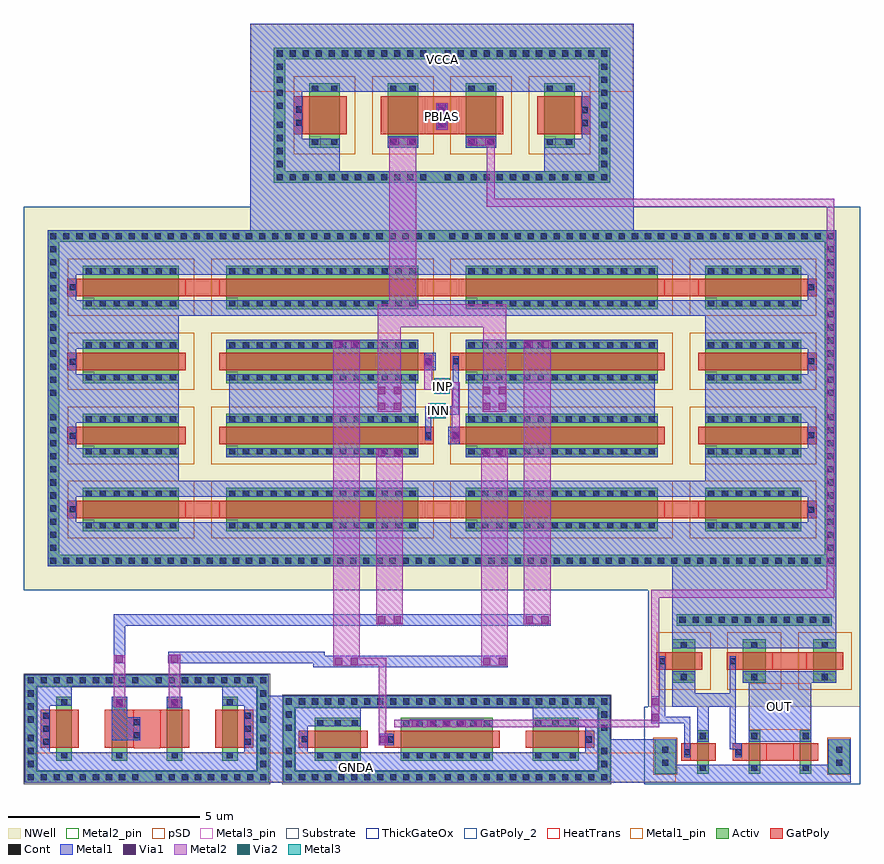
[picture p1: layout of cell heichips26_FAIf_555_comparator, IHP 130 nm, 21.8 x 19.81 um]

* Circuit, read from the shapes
.subckt heichips26_FAIf_555_comparator GNDA INN INP OUT PBIAS VCCA
XM1 GNDA GNDA GNDA GNDA sg13_hv_nmos w=0.4u l=1u m=2
XM2 n1 n1 GNDA GNDA sg13_hv_nmos w=0.4u l=1u
XM3 n2 n1 GNDA GNDA sg13_hv_nmos w=0.4u l=1u
XM4 GNDA GNDA GNDA GNDA sg13_hv_nmos w=1.2u l=0.45u m=2
XM5 n3 n2 GNDA GNDA sg13_hv_nmos w=2.4u l=0.45u
XM6 n4 n3 GNDA GNDA sg13_hv_nmos w=0.3u l=0.45u
XM7 OUT n4 GNDA GNDA sg13_hv_nmos w=0.3u l=0.45u m=2
XM8 VCCA VCCA VCCA VCCA sg13_hv_pmos w=2.5u l=0.45u m=8
XM9 VCCA VCCA VCCA VCCA sg13_hv_pmos w=5u l=0.45u m=4
XM10 n5 INN n1 VCCA sg13_hv_pmos w=5u l=0.45u m=2
XM11 n2 INP n5 VCCA sg13_hv_pmos w=5u l=0.45u m=2
XM12 VCCA VCCA VCCA VCCA sg13_hv_pmos w=0.8u l=1u m=2
XM13 VCCA PBIAS n5 VCCA sg13_hv_pmos w=0.8u l=1u
XM14 VCCA PBIAS n3 VCCA sg13_hv_pmos w=0.8u l=1u
XM15 VCCA n3 n4 VCCA sg13_hv_pmos w=0.6u l=0.45u
XM16 VCCA n4 OUT VCCA sg13_hv_pmos w=0.6u l=0.45u m=2
.ends

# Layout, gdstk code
from math import pi, radians
import gdstk
lib = gdstk.Library(unit=1e-6, precision=1e-09)
def R(c, l, rs):  # rectangles x0, y0, x1, y1
    for r in rs: c.add(gdstk.rectangle(r[:2], r[2:], *l))
def A(c, l, x, y, w, h, nx, ny, dx, dy):  # array of equal rectangles
    R(c, l, [(x+i*dx, y+j*dy, x+i*dx+w, y+j*dy+h) for i in range(nx) for j in range(ny)])
def P(c, l, *ps):  # polygons
    for p in ps: c.add(gdstk.Polygon(p, *l))
Activ = (1, 0)
GatPoly = (5, 0)
GatPoly_2 = (5, 2)
Cont = (6, 0)
Metal1 = (8, 0)
Metal1_pin = (8, 2)
Metal2 = (10, 0)
Metal2_pin = (10, 2)
pSD = (14, 0)
Via1 = (19, 0)
Via2 = (29, 0)
Metal3 = (30, 0)
Metal3_pin = (30, 2)
NWell = (31, 0)
Substrate = (40, 0)
ThickGateOx = (44, 0)
HeatTrans = (51, 0)

heichips26_faif_comp_via = lib.new_cell('heichips26_FAIf_comp_via_stack_11')
R(heichips26_faif_comp_via, Metal2, [(-0.145,-0.1,0.145,0.1)])
R(heichips26_faif_comp_via, Via2, [(-0.095,-0.095,0.095,0.095)])
R(heichips26_faif_comp_via, Metal3, [(-0.145,-0.1,0.145,0.1)])

c_heichips26_faif_comp_via = lib.new_cell('heichips26_FAIf_comp_via_stack_10')
R(c_heichips26_faif_comp_via, Metal1, [(-0.145,-0.105,0.145,0.105)])
R(c_heichips26_faif_comp_via, Metal2, [(-0.145,-0.1,0.145,0.1)])
R(c_heichips26_faif_comp_via, Via1, [(-0.095,-0.095,0.095,0.095)])
R(c_heichips26_faif_comp_via, Via2, [(-0.095,-0.095,0.095,0.095)])
R(c_heichips26_faif_comp_via, Metal3, [(-0.145,-0.1,0.145,0.1)])

c_heichips26_faif_comp_via_ = lib.new_cell('heichips26_FAIf_comp_via_stack_9')
R(c_heichips26_faif_comp_via_, GatPoly, [(-0.15,-0.15,0.15,0.15)])
R(c_heichips26_faif_comp_via_, Cont, [(-0.08,-0.08,0.08,0.08)])
R(c_heichips26_faif_comp_via_, Metal1, [(-0.145,-0.105,0.145,0.105)])
R(c_heichips26_faif_comp_via_, Metal2, [(-0.145,-0.1,0.145,0.1)])
R(c_heichips26_faif_comp_via_, Via1, [(-0.095,-0.095,0.095,0.095)])

c_heichips26_faif_comp_via__ = lib.new_cell('heichips26_FAIf_comp_via_stack_8')
R(c_heichips26_faif_comp_via__, GatPoly, [(-0.32,-0.15,0.32,0.15)])
R(c_heichips26_faif_comp_via__, Cont, [(-0.25,-0.08,-0.09,0.08), (0.09,-0.08,0.25,0.08)])
R(c_heichips26_faif_comp_via__, Metal1, [(-0.3,-0.08,0.3,0.08)])

c_heichips26_faif_comp_via___ = lib.new_cell('heichips26_FAIf_comp_via_stack_6')
R(c_heichips26_faif_comp_via___, Activ, [(-0.32,-0.15,0.32,0.15)])
R(c_heichips26_faif_comp_via___, Cont, [(-0.25,-0.08,-0.09,0.08), (0.09,-0.08,0.25,0.08)])
R(c_heichips26_faif_comp_via___, Metal1, [(-0.3,-0.08,0.3,0.08)])

c_heichips26_faif_comp_via____ = lib.new_cell('heichips26_FAIf_comp_via_stack_4')
R(c_heichips26_faif_comp_via____, Activ, [(-0.15,-2.02,0.15,2.02)])
A(c_heichips26_faif_comp_via____, Cont, -0.08, -1.95, 0.16, 0.16, 1, 12, 0, 0.34)
R(c_heichips26_faif_comp_via____, Metal1, [(-0.08,-2,0.08,2)])

heichips26_faif_comp_pmo = lib.new_cell('heichips26_FAIf_comp_pmosHV_3')
R(heichips26_faif_comp_pmo, Activ, [(0,0,0.3,0.3), (0,0,1.13,0.6), (0.83,0,1.13,0.3)])
R(heichips26_faif_comp_pmo, GatPoly, [(0.34,-0.18,0.79,0.78)])
R(heichips26_faif_comp_pmo, GatPoly_2, [(0.34,-0.18,0.79,0.78)])
R(heichips26_faif_comp_pmo, Cont, [(0.07,0.22,0.23,0.38), (0.9,0.22,1.06,0.38)])
R(heichips26_faif_comp_pmo, Metal1, [(0.07,0,0.23,0.6), (0.9,0,1.06,0.6)])
R(heichips26_faif_comp_pmo, Metal1_pin, [(0.07,0,0.23,0.6), (0.9,0,1.06,0.6)])
R(heichips26_faif_comp_pmo, pSD, [(-0.18,-0.4,1.31,1)])
R(heichips26_faif_comp_pmo, NWell, [(-0.62,-0.62,1.75,1.22)])
R(heichips26_faif_comp_pmo, Substrate, [(0.83,0,1.13,0.3)])
R(heichips26_faif_comp_pmo, ThickGateOx, [(-0.62,-0.62,1.75,1.22)])
R(heichips26_faif_comp_pmo, HeatTrans, [(0.34,-0.18,0.79,0.78)])
heichips26_faif_comp_pmo.add(gdstk.Label('pmosHV', (0.565,0.3), layer=63, texttype=0))
heichips26_faif_comp_pmo.add(gdstk.Label('pmos', (0.565,0.3), layer=51, texttype=0))

heichips26_faif_comp_nmo = lib.new_cell('heichips26_FAIf_comp_nmosHV_4')
R(heichips26_faif_comp_nmo, Activ, [(0,0,0.3,0.3), (0,0,1.13,0.3), (0.83,0,1.13,0.3)])
R(heichips26_faif_comp_nmo, GatPoly, [(0.34,-0.18,0.79,0.48)])
R(heichips26_faif_comp_nmo, GatPoly_2, [(0.34,-0.18,0.79,0.48)])
R(heichips26_faif_comp_nmo, Cont, [(0.07,0.07,0.23,0.23), (0.9,0.07,1.06,0.23)])
R(heichips26_faif_comp_nmo, Metal1, [(0.07,0,0.23,0.3), (0.9,0,1.06,0.3)])
R(heichips26_faif_comp_nmo, Metal1_pin, [(0.07,0,0.23,0.3), (0.9,0,1.06,0.3)])
R(heichips26_faif_comp_nmo, ThickGateOx, [(-0.27,-0.52,1.4,0.82)])
R(heichips26_faif_comp_nmo, HeatTrans, [(0.34,-0.18,0.79,0.48)])
heichips26_faif_comp_nmo.add(gdstk.Label('nmosHV', (0.565,0.15), layer=63, texttype=0))
heichips26_faif_comp_nmo.add(gdstk.Label('nmosHV', (0.565,0.15), layer=51, texttype=0))

c_heichips26_faif_comp_nmo = lib.new_cell('heichips26_FAIf_comp_nmosHV_3')
R(c_heichips26_faif_comp_nmo, Activ, [(0,0,0.3,0.3), (0,0,1.13,1.2), (0.83,0,1.13,0.3)])
R(c_heichips26_faif_comp_nmo, GatPoly, [(0.34,-0.18,0.79,1.38)])
R(c_heichips26_faif_comp_nmo, GatPoly_2, [(0.34,-0.18,0.79,1.38)])
A(c_heichips26_faif_comp_nmo, Cont, 0.07, 0.07, 0.16, 0.16, 1, 3, 0, 0.45)
A(c_heichips26_faif_comp_nmo, Cont, 0.9, 0.07, 0.16, 0.16, 1, 3, 0, 0.45)
R(c_heichips26_faif_comp_nmo, Metal1, [(0.07,0,0.23,1.2), (0.9,0,1.06,1.2)])
R(c_heichips26_faif_comp_nmo, Metal1_pin, [(0.07,0,0.23,1.2), (0.9,0,1.06,1.2)])
R(c_heichips26_faif_comp_nmo, ThickGateOx, [(-0.27,-0.52,1.4,1.72)])
R(c_heichips26_faif_comp_nmo, HeatTrans, [(0.34,-0.18,0.79,1.38)])
c_heichips26_faif_comp_nmo.add(gdstk.Label('nmosHV', (0.565,0.6), layer=63, texttype=0))
c_heichips26_faif_comp_nmo.add(gdstk.Label('nmosHV', (0.565,0.6), layer=51, texttype=0))

c_heichips26_faif_comp_nmo_ = lib.new_cell('heichips26_FAIf_comp_nmosHV_2')
R(c_heichips26_faif_comp_nmo_, Activ, [(0,0,0.3,0.3), (0,0,1.13,2.4), (0.83,0,1.13,0.3)])
R(c_heichips26_faif_comp_nmo_, GatPoly, [(0.34,-0.18,0.79,2.58)])
R(c_heichips26_faif_comp_nmo_, GatPoly_2, [(0.34,-0.18,0.79,2.58)])
A(c_heichips26_faif_comp_nmo_, Cont, 0.07, 0.07, 0.16, 0.16, 1, 7, 0, 0.35)
A(c_heichips26_faif_comp_nmo_, Cont, 0.9, 0.07, 0.16, 0.16, 1, 7, 0, 0.35)
R(c_heichips26_faif_comp_nmo_, Metal1, [(0.07,0,0.23,2.4), (0.9,0,1.06,2.4)])
R(c_heichips26_faif_comp_nmo_, Metal1_pin, [(0.07,0,0.23,2.4), (0.9,0,1.06,2.4)])
R(c_heichips26_faif_comp_nmo_, ThickGateOx, [(-0.27,-0.52,1.4,2.92)])
R(c_heichips26_faif_comp_nmo_, HeatTrans, [(0.34,-0.18,0.79,2.58)])
c_heichips26_faif_comp_nmo_.add(gdstk.Label('nmosHV', (0.565,1.2), layer=63, texttype=0))
c_heichips26_faif_comp_nmo_.add(gdstk.Label('nmosHV', (0.565,1.2), layer=51, texttype=0))

c_heichips26_faif_comp_via_____ = lib.new_cell('heichips26_FAIf_comp_via_stack_3')
R(c_heichips26_faif_comp_via_____, GatPoly, [(-0.15,-0.15,0.15,0.15)])
R(c_heichips26_faif_comp_via_____, Cont, [(-0.08,-0.08,0.08,0.08)])
R(c_heichips26_faif_comp_via_____, Metal1, [(-0.13,-0.08,0.13,0.08)])

c_heichips26_faif_comp_pmo = lib.new_cell('heichips26_FAIf_comp_pmosHV_2')
R(c_heichips26_faif_comp_pmo, Activ, [(0,0,0.3,0.3), (0,0,1.68,0.8), (1.38,0,1.68,0.3)])
R(c_heichips26_faif_comp_pmo, GatPoly, [(0.34,-0.18,1.34,0.98)])
R(c_heichips26_faif_comp_pmo, GatPoly_2, [(0.34,-0.18,1.34,0.98)])
R(c_heichips26_faif_comp_pmo, Cont, [(0.07,0.07,0.23,0.23), (1.45,0.07,1.61,0.23), (0.07,0.57,0.23,0.73), (1.45,0.57,1.61,0.73)])
R(c_heichips26_faif_comp_pmo, Metal1, [(0.07,0,0.23,0.8), (1.45,0,1.61,0.8)])
R(c_heichips26_faif_comp_pmo, Metal1_pin, [(0.07,0,0.23,0.8), (1.45,0,1.61,0.8)])
R(c_heichips26_faif_comp_pmo, pSD, [(-0.18,-0.4,1.86,1.2)])
R(c_heichips26_faif_comp_pmo, NWell, [(-0.62,-0.62,2.3,1.42)])
R(c_heichips26_faif_comp_pmo, Substrate, [(1.38,0,1.68,0.3)])
R(c_heichips26_faif_comp_pmo, ThickGateOx, [(-0.62,-0.62,2.3,1.42)])
R(c_heichips26_faif_comp_pmo, HeatTrans, [(0.34,-0.18,1.34,0.98)])
c_heichips26_faif_comp_pmo.add(gdstk.Label('pmosHV', (0.84,0.4), layer=63, texttype=0))
c_heichips26_faif_comp_pmo.add(gdstk.Label('pmos', (0.84,0.4), layer=51, texttype=0))

c_heichips26_faif_comp_via______ = lib.new_cell('heichips26_FAIf_comp_via_stack_1')
R(c_heichips26_faif_comp_via______, GatPoly, [(-0.15,-0.32,0.15,0.32)])
R(c_heichips26_faif_comp_via______, Cont, [(-0.08,-0.25,0.08,-0.09), (-0.08,0.09,0.08,0.25)])
R(c_heichips26_faif_comp_via______, Metal1, [(-0.08,-0.3,0.08,0.3)])

c_heichips26_faif_comp_pmo_ = lib.new_cell('heichips26_FAIf_comp_pmosHV_1')
R(c_heichips26_faif_comp_pmo_, Activ, [(0,0,0.3,0.3), (0,0,1.13,2.5), (0.83,0,1.13,0.3)])
R(c_heichips26_faif_comp_pmo_, GatPoly, [(0.34,-0.18,0.79,2.68)])
R(c_heichips26_faif_comp_pmo_, GatPoly_2, [(0.34,-0.18,0.79,2.68)])
A(c_heichips26_faif_comp_pmo_, Cont, 0.07, 0.07, 0.16, 0.16, 1, 3, 0, 0.365)
A(c_heichips26_faif_comp_pmo_, Cont, 0.9, 0.07, 0.16, 0.16, 1, 3, 0, 0.365)
A(c_heichips26_faif_comp_pmo_, Cont, 0.07, 1.17, 0.16, 0.16, 1, 3, 0, 0.365)
A(c_heichips26_faif_comp_pmo_, Cont, 0.9, 1.17, 0.16, 0.16, 1, 3, 0, 0.365)
R(c_heichips26_faif_comp_pmo_, Cont, [(0.07,2.27,0.23,2.43), (0.9,2.27,1.06,2.43)])
R(c_heichips26_faif_comp_pmo_, Metal1, [(0.07,0,0.23,2.5), (0.9,0,1.06,2.5)])
R(c_heichips26_faif_comp_pmo_, Metal1_pin, [(0.07,0,0.23,2.5), (0.9,0,1.06,2.5)])
R(c_heichips26_faif_comp_pmo_, pSD, [(-0.18,-0.4,1.31,2.9)])
R(c_heichips26_faif_comp_pmo_, NWell, [(-0.62,-0.62,1.75,3.12)])
R(c_heichips26_faif_comp_pmo_, Substrate, [(0.83,0,1.13,0.3)])
R(c_heichips26_faif_comp_pmo_, ThickGateOx, [(-0.62,-0.62,1.75,3.12)])
R(c_heichips26_faif_comp_pmo_, HeatTrans, [(0.34,-0.18,0.79,2.68)])
c_heichips26_faif_comp_pmo_.add(gdstk.Label('pmosHV', (0.565,1.25), layer=63, texttype=0))
c_heichips26_faif_comp_pmo_.add(gdstk.Label('pmos', (0.565,1.25), layer=51, texttype=0))

c_heichips26_faif_comp_pmo__ = lib.new_cell('heichips26_FAIf_comp_pmosHV')
R(c_heichips26_faif_comp_pmo__, Activ, [(0,0,0.3,0.3), (0,0,1.13,5), (0.83,0,1.13,0.3)])
R(c_heichips26_faif_comp_pmo__, GatPoly, [(0.34,-0.18,0.79,5.18)])
R(c_heichips26_faif_comp_pmo__, GatPoly_2, [(0.34,-0.18,0.79,5.18)])
A(c_heichips26_faif_comp_pmo__, Cont, 0.07, 0.07, 0.16, 0.16, 1, 4, 0, 0.36)
A(c_heichips26_faif_comp_pmo__, Cont, 0.9, 0.07, 0.16, 0.16, 1, 4, 0, 0.36)
A(c_heichips26_faif_comp_pmo__, Cont, 0.07, 1.515, 0.16, 0.16, 1, 3, 0, 0.36)
A(c_heichips26_faif_comp_pmo__, Cont, 0.9, 1.515, 0.16, 0.16, 1, 3, 0, 0.36)
A(c_heichips26_faif_comp_pmo__, Cont, 0.07, 2.6, 0.16, 0.16, 1, 3, 0, 0.36)
A(c_heichips26_faif_comp_pmo__, Cont, 0.9, 2.6, 0.16, 0.16, 1, 3, 0, 0.36)
A(c_heichips26_faif_comp_pmo__, Cont, 0.07, 3.685, 0.16, 0.16, 1, 3, 0, 0.36)
A(c_heichips26_faif_comp_pmo__, Cont, 0.9, 3.685, 0.16, 0.16, 1, 3, 0, 0.36)
R(c_heichips26_faif_comp_pmo__, Cont, [(0.07,4.77,0.23,4.93), (0.9,4.77,1.06,4.93)])
R(c_heichips26_faif_comp_pmo__, Metal1, [(0.07,0,0.23,5), (0.9,0,1.06,5)])
R(c_heichips26_faif_comp_pmo__, Metal1_pin, [(0.07,0,0.23,5), (0.9,0,1.06,5)])
R(c_heichips26_faif_comp_pmo__, pSD, [(-0.18,-0.4,1.31,5.4)])
R(c_heichips26_faif_comp_pmo__, NWell, [(-0.62,-0.62,1.75,5.62)])
R(c_heichips26_faif_comp_pmo__, Substrate, [(0.83,0,1.13,0.3)])
R(c_heichips26_faif_comp_pmo__, ThickGateOx, [(-0.62,-0.62,1.75,5.62)])
R(c_heichips26_faif_comp_pmo__, HeatTrans, [(0.34,-0.18,0.79,5.18)])
c_heichips26_faif_comp_pmo__.add(gdstk.Label('pmosHV', (0.565,2.5), layer=63, texttype=0))
c_heichips26_faif_comp_pmo__.add(gdstk.Label('pmos', (0.565,2.5), layer=51, texttype=0))

c_heichips26_faif_comp_via_______ = lib.new_cell('heichips26_FAIf_comp_via_stack')
R(c_heichips26_faif_comp_via_______, GatPoly, [(-0.15,-0.49,0.15,0.49)])
A(c_heichips26_faif_comp_via_______, Cont, -0.08, -0.42, 0.16, 0.16, 1, 3, 0, 0.34)
R(c_heichips26_faif_comp_via_______, Metal1, [(-0.08,-0.47,0.08,0.47)])

c_heichips26_faif_comp_nmo__ = lib.new_cell('heichips26_FAIf_comp_nmosHV')
R(c_heichips26_faif_comp_nmo__, Activ, [(0,0,0.3,0.3), (0,0,1.68,0.4), (1.38,0,1.68,0.3)])
R(c_heichips26_faif_comp_nmo__, GatPoly, [(0.34,-0.18,1.34,0.58)])
R(c_heichips26_faif_comp_nmo__, GatPoly_2, [(0.34,-0.18,1.34,0.58)])
R(c_heichips26_faif_comp_nmo__, Cont, [(0.07,0.12,0.23,0.28), (1.45,0.12,1.61,0.28)])
R(c_heichips26_faif_comp_nmo__, Metal1, [(0.07,0,0.23,0.4), (1.45,0,1.61,0.4)])
R(c_heichips26_faif_comp_nmo__, Metal1_pin, [(0.07,0,0.23,0.4), (1.45,0,1.61,0.4)])
R(c_heichips26_faif_comp_nmo__, ThickGateOx, [(-0.27,-0.52,1.95,0.92)])
R(c_heichips26_faif_comp_nmo__, HeatTrans, [(0.34,-0.18,1.34,0.58)])
c_heichips26_faif_comp_nmo__.add(gdstk.Label('nmosHV', (0.84,0.2), layer=63, texttype=0))
c_heichips26_faif_comp_nmo__.add(gdstk.Label('nmosHV', (0.84,0.2), layer=51, texttype=0))

c_heichips26_faif_comp_via________ = lib.new_cell('heichips26_FAIf_comp_via_stack_12')
R(c_heichips26_faif_comp_via________, Metal1, [(-0.35,-0.105,0.35,0.105)])
R(c_heichips26_faif_comp_via________, Metal2, [(-0.35,-0.1,0.35,0.1)])
R(c_heichips26_faif_comp_via________, Via1, [(-0.3,-0.095,-0.11,0.095), (0.11,-0.095,0.3,0.095)])

c_heichips26_faif_comp_via_________ = lib.new_cell('heichips26_FAIf_comp_via_stack_13')
R(c_heichips26_faif_comp_via_________, Metal1, [(-0.145,-0.105,0.145,0.105)])
R(c_heichips26_faif_comp_via_________, Metal2, [(-0.145,-0.1,0.145,0.1)])
R(c_heichips26_faif_comp_via_________, Via1, [(-0.095,-0.095,0.095,0.095)])

c_heichips26_faif_comp_via__________ = lib.new_cell('heichips26_FAIf_comp_via_stack_14')
R(c_heichips26_faif_comp_via__________, Metal1, [(-0.35,-0.31,0.35,0.31)])
R(c_heichips26_faif_comp_via__________, Metal2, [(-0.35,-0.305,0.35,0.305)])
R(c_heichips26_faif_comp_via__________, Via1, [(-0.3,-0.3,-0.11,-0.11), (0.11,-0.3,0.3,-0.11), (-0.3,0.11,-0.11,0.3), (0.11,0.11,0.3,0.3)])

c_heichips26_faif_comp_via___________ = lib.new_cell('heichips26_FAIf_comp_via_stack_15')
R(c_heichips26_faif_comp_via___________, Metal1, [(-0.965,-0.105,0.965,0.105)])
R(c_heichips26_faif_comp_via___________, Metal2, [(-0.965,-0.1,0.965,0.1)])
A(c_heichips26_faif_comp_via___________, Via1, -0.915, -0.095, 0.19, 0.19, 5, 1, 0.41, 0)

c_heichips26_faif_comp_via____________ = lib.new_cell('heichips26_FAIf_comp_via_stack_16')
R(c_heichips26_faif_comp_via____________, GatPoly, [(-0.32,-0.15,0.32,0.15)])
R(c_heichips26_faif_comp_via____________, Cont, [(-0.25,-0.08,-0.09,0.08), (0.09,-0.08,0.25,0.08)])
R(c_heichips26_faif_comp_via____________, Metal1, [(-0.35,-0.105,0.35,0.105)])
R(c_heichips26_faif_comp_via____________, Metal2, [(-0.35,-0.1,0.35,0.1)])
R(c_heichips26_faif_comp_via____________, Via1, [(-0.3,-0.095,-0.11,0.095), (0.11,-0.095,0.3,0.095)])

heichips26_faif_555_comp = lib.new_cell('heichips26_FAIf_555_comparator')
R(heichips26_faif_555_comp, Activ, [(16.44,0.27,17,1.17), (20.97,0.27,21.53,1.17), (0.03,0.33,0.33,2.55), (6.09,0.33,6.39,2.55), (6.76,0.33,7.06,2), (14.98,0.33,15.28,2), (6.76,2,15.28,2.3), (0.03,2.55,6.39,2.85), (0.62,5.97,0.92,14.13), (20.88,5.97,21.18,14.13), (0.62,14.13,21.18,14.43), (6.52,15.97,6.82,18.89), (14.98,15.97,15.28,18.89), (6.52,18.89,15.28,19.19)])
P(heichips26_faif_555_comp, Activ, [(6.76,0.03),(6.76,2),(7.06,2),(7.06,0.33),(14.98,0.33),(14.98,2),(6.76,2),(6.76,2.3),(15.28,2.3),(15.28,0.03)],
  [(0.03,0.03),(0.03,2.55),(0.33,2.55),(0.33,0.33),(6.09,0.33),(6.09,2.55),(0.03,2.55),(0.03,2.85),(6.39,2.85),(6.39,0.03)],
  [(0.62,5.67),(0.62,14.13),(0.92,14.13),(0.92,5.97),(20.88,5.97),(20.88,14.13),(0.62,14.13),(0.62,14.43),(21.18,14.43),(21.18,5.67)],
  [(6.52,15.67),(6.52,18.89),(6.82,18.89),(6.82,15.97),(14.98,15.97),(14.98,18.89),(6.52,18.89),(6.52,19.19),(15.28,19.19),(15.28,15.67)])
A(heichips26_faif_555_comp, GatPoly, 1.13, 6.93, 0.23, 0.45, 1, 4, 0, 1.93)
A(heichips26_faif_555_comp, GatPoly, 4.22, 6.93, 0.88, 0.45, 3, 2, 6.24, 5.79)
A(heichips26_faif_555_comp, GatPoly, 20.44, 6.93, 0.23, 0.45, 1, 4, 0, 1.93)
R(heichips26_faif_555_comp, GatPoly, [(17.14,0.61,17.37,1.06), (18.48,0.61,18.71,1.06), (19.37,0.61,20.05,1.06), (2.87,0.935,3.55,1.935), (7.17,0.94,7.4,1.39), (9.41,0.94,9.64,1.39), (14.64,0.94,14.87,1.39), (16.48,2.98,16.72,3.43), (18.32,2.98,18.56,3.43), (19.52,2.98,20.4,3.43), (10.46,8.86,10.69,9.31), (11.11,8.86,11.34,9.31), (10.46,10.79,10.69,11.24), (11.11,10.79,11.34,11.24), (7.03,16.93,7.26,17.93), (10.46,16.93,11.34,17.93), (14.54,16.93,14.77,17.93)])
A(heichips26_faif_555_comp, Cont, 0.1, 0.1, 0.16, 0.16, 9, 2, 0.34, 2.52)
A(heichips26_faif_555_comp, Cont, 3.44, 0.1, 0.16, 0.16, 9, 2, 0.34, 2.52)
A(heichips26_faif_555_comp, Cont, 6.83, 0.1, 0.16, 0.16, 12, 2, 0.34, 1.97)
A(heichips26_faif_555_comp, Cont, 10.97, 0.1, 0.16, 0.16, 13, 2, 0.34, 1.97)
A(heichips26_faif_555_comp, Cont, 0.1, 0.44, 0.16, 0.16, 1, 3, 0, 0.34)
A(heichips26_faif_555_comp, Cont, 6.16, 0.44, 0.16, 0.16, 1, 3, 0, 0.34)
A(heichips26_faif_555_comp, Cont, 0.1, 1.6, 0.16, 0.16, 1, 3, 0, 0.34)
A(heichips26_faif_555_comp, Cont, 6.16, 1.6, 0.16, 0.16, 1, 3, 0, 0.34)
A(heichips26_faif_555_comp, Cont, 0.69, 5.74, 0.16, 0.16, 30, 2, 0.34, 8.46)
A(heichips26_faif_555_comp, Cont, 11.09, 5.74, 0.16, 0.16, 30, 2, 0.34, 8.46)
A(heichips26_faif_555_comp, Cont, 0.69, 6.08, 0.16, 0.16, 1, 11, 0, 0.34)
A(heichips26_faif_555_comp, Cont, 20.95, 6.08, 0.16, 0.16, 1, 11, 0, 0.34)
A(heichips26_faif_555_comp, Cont, 0.69, 10.12, 0.16, 0.16, 1, 12, 0, 0.34)
A(heichips26_faif_555_comp, Cont, 20.95, 10.12, 0.16, 0.16, 1, 12, 0, 0.34)
A(heichips26_faif_555_comp, Cont, 6.59, 15.74, 0.16, 0.16, 12, 2, 0.34, 3.22)
A(heichips26_faif_555_comp, Cont, 10.97, 15.74, 0.16, 0.16, 13, 2, 0.34, 3.22)
A(heichips26_faif_555_comp, Cont, 6.59, 16.08, 0.16, 0.16, 1, 4, 0, 0.34)
A(heichips26_faif_555_comp, Cont, 15.05, 16.08, 0.16, 0.16, 1, 4, 0, 0.34)
A(heichips26_faif_555_comp, Cont, 6.59, 17.6, 0.16, 0.16, 1, 4, 0, 0.34)
A(heichips26_faif_555_comp, Cont, 15.05, 17.6, 0.16, 0.16, 1, 4, 0, 0.34)
R(heichips26_faif_555_comp, Cont, [(6.83,0.44,6.99,0.6), (15.05,0.44,15.21,0.6), (6.83,0.78,6.99,0.94), (15.05,0.78,15.21,0.94), (6.83,1.39,6.99,1.55), (15.05,1.39,15.21,1.55), (6.83,1.73,6.99,1.89), (15.05,1.73,15.21,1.89)])
A(heichips26_faif_555_comp, Metal1, 1.36, 7.49, 2.68, 1.26, 1, 3, 0, 1.93)
A(heichips26_faif_555_comp, Metal1, 17.76, 7.49, 2.68, 1.26, 1, 3, 0, 1.93)
R(heichips26_faif_555_comp, Metal1, [(0.03,0.03,6.39,0.33), (6.39,0.03,6.76,2.3), (6.76,0.03,15.28,0.33), (15.12,0.03,21.56,0.24), (15.12,0.21,16.41,1.17), (16.41,0.24,17,1.17), (16.41,0.24,17.55,0.5), (17.55,0.24,21.56,0.5), (0.33,0.325,1.25,0.825), (1.25,0.325,6.09,0.825), (7.06,0.325,14.98,0.825), (0.03,0.33,0.33,2.55), (6.09,0.33,6.39,2.55), (6.76,0.33,7.06,2), (14.98,0.33,15.28,2), (20.97,0.5,21.56,1.17), (0.33,0.825,0.67,2.545), (5.75,0.825,6.09,2.045), (7.06,0.825,7.4,1.5), (14.64,0.825,14.98,1.5), (9.275,1.01,9.64,1.31), (17.55,1.1,17.85,2.02), (18.89,1.1,20.53,1.4), (2.29,1.135,3.03,1.735), (18.89,1.4,20.53,2.64), (7.06,1.5,8.78,2), (13.26,1.5,14.98,2), (2.29,1.735,2.69,2.05), (2.29,1.98,2.69,2.28), (3.73,1.98,4.13,2.28), (6.76,2,15.28,2.3), (16.9,2.02,17.5,2.94), (16.9,2.02,17.85,2.37), (17.85,2.02,18.4,2.37), (0.33,2.045,1.25,2.545), (5.17,2.045,6.09,2.545), (0.33,2.545,1.25,2.55), (5.17,2.545,6.09,2.55), (0.03,2.55,6.39,2.85), (18.74,2.64,21.18,2.94), (16.9,3.54,21.18,4.36), (16.9,4.36,21.18,5.67), (0.62,5.67,21.18,5.97), (0.62,5.97,0.92,14.13), (0.92,5.97,20.88,6.82), (0.92,5.97,1.36,14.13), (20.44,5.97,20.88,14.13), (20.88,5.97,21.18,14.13), (4.04,7.49,17.76,7.9), (5.28,8.52,10.28,8.75), (11.52,8.52,16.52,8.75), (11.06,8.86,11.36,9.31), (5.35,9.42,10.21,10.68), (11.59,9.42,16.45,10.68), (10.46,9.62,11.34,9.84), (10.44,10.79,10.74,11.24), (5.28,11.35,10.28,11.58), (11.52,11.35,16.52,11.58), (4.04,12.2,17.76,12.61), (0.92,13.28,20.88,14.13), (0.62,14.13,21.18,14.43), (5.9,14.43,6.52,19.19), (6.52,14.43,15.28,15.67), (15.28,14.43,15.9,19.19), (6.52,15.67,15.28,15.97), (6.52,15.97,6.82,18.89), (6.82,15.97,7.26,18.04), (7.26,15.97,8.24,16.82), (13.56,15.97,14.54,16.82), (14.54,15.97,14.98,18.04), (14.98,15.97,15.28,18.89), (9.48,16.59,10.28,16.89), (11.52,16.59,12.32,16.89), (6.82,18.04,14.98,18.89), (6.52,18.89,15.28,19.19), (5.9,19.19,15.9,19.81)])
R(heichips26_faif_555_comp, Metal1_pin, [(0.04,0.04,16.99,0.82), (18.91,1.42,20.51,2.62), (5.92,18.05,15.89,19.8)])
R(heichips26_faif_555_comp, Metal2, [(8.06,3.08,8.76,11.36), (11.92,3.08,12.62,8.74), (9.18,4.17,9.88,8.74), (13.03,4.17,13.73,11.56), (10.54,9.53,10.94,9.93), (10.75,17.05,11.05,17.75)])
R(heichips26_faif_555_comp, Metal2_pin, [(10.76,17.06,11.04,17.74)])
R(heichips26_faif_555_comp, pSD, [(16.41,0.24,17.03,1.2), (20.94,0.24,21.56,1.2), (0,0.36,0.36,2.52), (6.06,0.36,6.42,2.52), (6.73,0.36,7.09,1.97), (14.95,0.36,15.31,1.97), (6.73,1.97,15.31,2.33), (0,2.52,6.42,2.88)])
P(heichips26_faif_555_comp, pSD, [(6.73,0),(6.73,1.97),(7.09,1.97),(7.09,0.36),(14.95,0.36),(14.95,1.97),(6.73,1.97),(6.73,2.33),(15.31,2.33),(15.31,0)],
  [(0,0),(0,2.52),(0.36,2.52),(0.36,0.36),(6.06,0.36),(6.06,2.52),(0,2.52),(0,2.88),(6.42,2.88),(6.42,0)])
R(heichips26_faif_555_comp, Metal3, [(10.6,9.53,11,9.93), (10.7,10.17,11.1,10.57)])
R(heichips26_faif_555_comp, Metal3_pin, [(10.61,9.54,10.99,9.92), (10.71,10.18,11.09,10.56)])
R(heichips26_faif_555_comp, NWell, [(16.28,4.39,21.8,5.05), (0,5.05,21.8,15.05), (0.27,5.32,21.53,14.78), (5.9,15.05,15.9,19.81), (6.17,15.32,15.63,19.54)])
R(heichips26_faif_555_comp, Substrate, [(0,0.36,0.36,2.52), (6.06,0.36,6.42,2.52), (6.73,0.36,7.09,1.97), (14.95,0.36,15.31,1.97), (6.73,1.97,15.31,2.33), (0,2.52,6.42,2.88)])
P(heichips26_faif_555_comp, Substrate, [(6.73,0),(6.73,1.97),(7.09,1.97),(7.09,0.36),(14.95,0.36),(14.95,1.97),(6.73,1.97),(6.73,2.33),(15.31,2.33),(15.31,0)],
  [(0,0),(0,2.52),(0.36,2.52),(0.36,0.36),(6.06,0.36),(6.06,2.52),(0,2.52),(0,2.88),(6.42,2.88),(6.42,0)])
R(heichips26_faif_555_comp, ThickGateOx, [(16.17,0,16.92,2.02), (16.92,0,17.03,2.02), (21.05,0,21.8,2.02), (17.03,1.67,21.05,2.02), (16.28,4.39,21.8,5.05), (0,5.05,21.8,15.05), (5.9,15.05,15.9,19.81)])
heichips26_faif_555_comp.add(gdstk.FlexPath([(18.63,0.7),(18.63,0.98),(18.48,0.98),(18.48,3.33)], 0.16, ends="flush", simple_path=True, layer=8, datatype=0))  # Metal1
heichips26_faif_555_comp.add(gdstk.FlexPath([(17.29,0.7),(17.29,1.67),(16.64,1.67),(16.64,3.33)], 0.16, ends="flush", simple_path=True, layer=8, datatype=0))  # Metal1
heichips26_faif_555_comp.add(gdstk.FlexPath([(13.73,4.28),(2.49,4.28),(2.49,3.15),(2.49,3.15)], 0.3, ends="flush", simple_path=True, layer=8, datatype=0))  # Metal1
heichips26_faif_555_comp.add(gdstk.FlexPath([(12.62,3.19),(7.7,3.19),(7.7,3.3),(3.77,3.3)], 0.3, ends="flush", simple_path=True, layer=8, datatype=0))  # Metal1
heichips26_faif_555_comp.add(gdstk.FlexPath([(10.54,8.955),(10.54,9.73),(11.26,9.73),(11.26,11.145)], 0.16, ends="flush", simple_path=True, layer=8, datatype=0))  # Metal1
heichips26_faif_555_comp.add(gdstk.FlexPath([(8.3,3.19),(9.35,3.19),(9.35,1.015)], 0.2, ends="flush", simple_path=True, layer=10, datatype=0))  # Metal2
heichips26_faif_555_comp.add(gdstk.FlexPath([(9.53,9.7),(9.53,12.2),(12.27,12.2),(12.27,9.7)], 0.6, ends="flush", simple_path=True, layer=10, datatype=0))  # Metal2
heichips26_faif_555_comp.add(gdstk.FlexPath([(9.88,16.64),(9.88,12.2)], 0.7, ends="flush", simple_path=True, layer=10, datatype=0))  # Metal2
heichips26_faif_555_comp.add(gdstk.FlexPath([(11.57,16.74),(12.17,16.74),(12.17,15.15),(21.03,15.15),(21.03,4.96),(16.46,4.96),(16.46,1.58),(9.66,1.58)], 0.2, ends="flush", simple_path=True, layer=10, datatype=0))  # Metal2
heichips26_faif_555_comp.add(gdstk.FlexPath([(2.49,3.36),(2.49,1.995)], 0.3, ends="flush", simple_path=True, layer=10, datatype=0))  # Metal2
heichips26_faif_555_comp.add(gdstk.FlexPath([(3.93,3.365),(3.93,1.995)], 0.3, ends="flush", simple_path=True, layer=10, datatype=0))  # Metal2
heichips26_faif_555_comp.add(gdstk.FlexPath([(11.26,8.94),(11.26,10.37),(10.54,10.37),(10.54,11.16)], 0.2, ends="flush", simple_path=True, layer=10, datatype=0))  # Metal2
heichips26_faif_555_comp.add(gdstk.Reference(heichips26_faif_comp_via, (10.9,10.37)))
heichips26_faif_555_comp.add(gdstk.Reference(c_heichips26_faif_comp_via, (10.8,9.73)))
heichips26_faif_555_comp.add(gdstk.Reference(c_heichips26_faif_comp_via_, (10.54,11.015), rotation=3*pi/2))
heichips26_faif_555_comp.add(gdstk.Reference(c_heichips26_faif_comp_via_, (11.26,9.085), rotation=3*pi/2))
heichips26_faif_555_comp.add(gdstk.Reference(c_heichips26_faif_comp_via__, (7.18,17.41), rotation=3*pi/2))
heichips26_faif_555_comp.add(gdstk.Reference(c_heichips26_faif_comp_via__, (14.62,17.4), rotation=3*pi/2))
heichips26_faif_555_comp.add(gdstk.Reference(c_heichips26_faif_comp_via___, (16.72,0.72), rotation=3*pi/2))
heichips26_faif_555_comp.add(gdstk.Reference(c_heichips26_faif_comp_via___, (21.25,0.72), rotation=3*pi/2))
heichips26_faif_555_comp.add(gdstk.Reference(c_heichips26_faif_comp_via____, (19.04,4.28), rotation=3*pi/2))
heichips26_faif_555_comp.add(gdstk.Reference(heichips26_faif_comp_pmo, (16.9,3.77), rotation=3*pi/2))
heichips26_faif_555_comp.add(gdstk.Reference(heichips26_faif_comp_pmo, (18.74,3.77), rotation=3*pi/2))
heichips26_faif_555_comp.add(gdstk.Reference(heichips26_faif_comp_pmo, (20.58,3.77), rotation=3*pi/2))
heichips26_faif_555_comp.add(gdstk.Reference(heichips26_faif_comp_nmo, (18.89,1.4), rotation=3*pi/2))
heichips26_faif_555_comp.add(gdstk.Reference(heichips26_faif_comp_nmo, (20.23,1.4), rotation=3*pi/2))
heichips26_faif_555_comp.add(gdstk.Reference(heichips26_faif_comp_nmo, (17.55,1.4), rotation=3*pi/2))
heichips26_faif_555_comp.add(gdstk.Reference(c_heichips26_faif_comp_nmo, (7.58,1.73), rotation=3*pi/2))
heichips26_faif_555_comp.add(gdstk.Reference(c_heichips26_faif_comp_nmo, (13.26,1.73), rotation=3*pi/2))
heichips26_faif_555_comp.add(gdstk.Reference(c_heichips26_faif_comp_nmo_, (9.82,1.73), rotation=3*pi/2))
heichips26_faif_555_comp.add(gdstk.Reference(c_heichips26_faif_comp_via_____, (7.32,1.17), rotation=pi/2))
heichips26_faif_555_comp.add(gdstk.Reference(c_heichips26_faif_comp_via_____, (9.56,1.16), rotation=pi/2))
heichips26_faif_555_comp.add(gdstk.Reference(c_heichips26_faif_comp_via_____, (14.72,1.16), rotation=pi/2))
heichips26_faif_555_comp.add(gdstk.Reference(c_heichips26_faif_comp_via_____, (18.63,0.83), rotation=3*pi/2))
heichips26_faif_555_comp.add(gdstk.Reference(c_heichips26_faif_comp_via_____, (17.29,0.83), rotation=3*pi/2))
heichips26_faif_555_comp.add(gdstk.Reference(c_heichips26_faif_comp_via_____, (16.64,3.2), rotation=3*pi/2))
heichips26_faif_555_comp.add(gdstk.Reference(c_heichips26_faif_comp_via_____, (10.54,9.085), rotation=3*pi/2))
heichips26_faif_555_comp.add(gdstk.Reference(c_heichips26_faif_comp_via_____, (11.26,11.015), rotation=3*pi/2))
heichips26_faif_555_comp.add(gdstk.Reference(c_heichips26_faif_comp_via_____, (20.52,12.95), rotation=3*pi/2))
heichips26_faif_555_comp.add(gdstk.Reference(c_heichips26_faif_comp_via_____, (20.52,11.02), rotation=3*pi/2))
heichips26_faif_555_comp.add(gdstk.Reference(c_heichips26_faif_comp_via_____, (20.52,9.09), rotation=3*pi/2))
heichips26_faif_555_comp.add(gdstk.Reference(c_heichips26_faif_comp_via_____, (20.52,7.15), rotation=3*pi/2))
heichips26_faif_555_comp.add(gdstk.Reference(c_heichips26_faif_comp_via_____, (1.28,7.16), rotation=3*pi/2))
heichips26_faif_555_comp.add(gdstk.Reference(c_heichips26_faif_comp_via_____, (1.28,9.08), rotation=3*pi/2))
heichips26_faif_555_comp.add(gdstk.Reference(c_heichips26_faif_comp_via_____, (1.28,11.01), rotation=3*pi/2))
heichips26_faif_555_comp.add(gdstk.Reference(c_heichips26_faif_comp_via_____, (18.48,3.2), rotation=3*pi/2))
heichips26_faif_555_comp.add(gdstk.Reference(c_heichips26_faif_comp_via_____, (1.28,12.945), rotation=3*pi/2))
heichips26_faif_555_comp.add(gdstk.Reference(c_heichips26_faif_comp_pmo, (13.56,18.27), rotation=3*pi/2))
heichips26_faif_555_comp.add(gdstk.Reference(c_heichips26_faif_comp_pmo, (11.52,18.27), rotation=3*pi/2))
heichips26_faif_555_comp.add(gdstk.Reference(c_heichips26_faif_comp_pmo, (9.48,18.27), rotation=3*pi/2))
heichips26_faif_555_comp.add(gdstk.Reference(c_heichips26_faif_comp_pmo, (7.44,18.27), rotation=3*pi/2))
heichips26_faif_555_comp.add(gdstk.Reference(c_heichips26_faif_comp_via______, (2.95,1.44)))
heichips26_faif_555_comp.add(gdstk.Reference(c_heichips26_faif_comp_pmo_, (1.54,13.51), rotation=3*pi/2))
heichips26_faif_555_comp.add(gdstk.Reference(c_heichips26_faif_comp_pmo_, (1.54,11.58), rotation=3*pi/2))
heichips26_faif_555_comp.add(gdstk.Reference(c_heichips26_faif_comp_pmo_, (17.76,13.51), rotation=3*pi/2))
heichips26_faif_555_comp.add(gdstk.Reference(c_heichips26_faif_comp_pmo_, (17.76,11.58), rotation=3*pi/2))
heichips26_faif_555_comp.add(gdstk.Reference(c_heichips26_faif_comp_pmo_, (1.54,9.65), rotation=3*pi/2))
heichips26_faif_555_comp.add(gdstk.Reference(c_heichips26_faif_comp_pmo_, (17.76,9.65), rotation=3*pi/2))
heichips26_faif_555_comp.add(gdstk.Reference(c_heichips26_faif_comp_pmo_, (17.76,7.72), rotation=3*pi/2))
heichips26_faif_555_comp.add(gdstk.Reference(c_heichips26_faif_comp_pmo_, (1.54,7.72), rotation=3*pi/2))
heichips26_faif_555_comp.add(gdstk.Reference(c_heichips26_faif_comp_pmo__, (5.28,7.72), rotation=3*pi/2))
heichips26_faif_555_comp.add(gdstk.Reference(c_heichips26_faif_comp_pmo__, (5.28,11.58), rotation=3*pi/2))
heichips26_faif_555_comp.add(gdstk.Reference(c_heichips26_faif_comp_pmo__, (5.28,9.65), rotation=3*pi/2))
heichips26_faif_555_comp.add(gdstk.Reference(c_heichips26_faif_comp_pmo__, (11.52,11.58), rotation=3*pi/2))
heichips26_faif_555_comp.add(gdstk.Reference(c_heichips26_faif_comp_pmo__, (11.52,9.65), rotation=3*pi/2))
heichips26_faif_555_comp.add(gdstk.Reference(c_heichips26_faif_comp_pmo__, (5.28,13.51), rotation=3*pi/2))
heichips26_faif_555_comp.add(gdstk.Reference(c_heichips26_faif_comp_pmo__, (11.52,13.51), rotation=3*pi/2))
heichips26_faif_555_comp.add(gdstk.Reference(c_heichips26_faif_comp_pmo__, (11.52,7.72), rotation=3*pi/2))
heichips26_faif_555_comp.add(gdstk.Reference(c_heichips26_faif_comp_via_______, (5.83,1.44)))
heichips26_faif_555_comp.add(gdstk.Reference(c_heichips26_faif_comp_via_______, (0.59,1.44)))
heichips26_faif_555_comp.add(gdstk.Reference(c_heichips26_faif_comp_nmo__, (0.85,2.28), rotation=3*pi/2))
heichips26_faif_555_comp.add(gdstk.Reference(c_heichips26_faif_comp_nmo__, (3.73,2.28), rotation=3*pi/2))
heichips26_faif_555_comp.add(gdstk.Reference(c_heichips26_faif_comp_nmo__, (2.29,2.28), rotation=3*pi/2))
heichips26_faif_555_comp.add(gdstk.Reference(c_heichips26_faif_comp_nmo__, (5.17,2.28), rotation=3*pi/2))
heichips26_faif_555_comp.add(gdstk.Reference(c_heichips26_faif_comp_via________, (8.41,11.46)))
heichips26_faif_555_comp.add(gdstk.Reference(c_heichips26_faif_comp_via________, (9.53,8.64)))
heichips26_faif_555_comp.add(gdstk.Reference(c_heichips26_faif_comp_via________, (9.88,16.74)))
heichips26_faif_555_comp.add(gdstk.Reference(c_heichips26_faif_comp_via________, (11.92,16.74)))
heichips26_faif_555_comp.add(gdstk.Reference(c_heichips26_faif_comp_via________, (12.27,8.64)))
heichips26_faif_555_comp.add(gdstk.Reference(c_heichips26_faif_comp_via________, (13.38,11.46)))
heichips26_faif_555_comp.add(gdstk.Reference(c_heichips26_faif_comp_via________, (9.53,4.28)))
heichips26_faif_555_comp.add(gdstk.Reference(c_heichips26_faif_comp_via________, (13.38,4.28)))
heichips26_faif_555_comp.add(gdstk.Reference(c_heichips26_faif_comp_via________, (12.27,3.19)))
heichips26_faif_555_comp.add(gdstk.Reference(c_heichips26_faif_comp_via________, (8.41,3.19)))
heichips26_faif_555_comp.add(gdstk.Reference(c_heichips26_faif_comp_via________, (16.46,1.94), rotation=3*pi/2))
heichips26_faif_555_comp.add(gdstk.Reference(c_heichips26_faif_comp_via_________, (3.93,2.1)))
heichips26_faif_555_comp.add(gdstk.Reference(c_heichips26_faif_comp_via_________, (2.49,2.1)))
heichips26_faif_555_comp.add(gdstk.Reference(c_heichips26_faif_comp_via_________, (2.49,3.26)))
heichips26_faif_555_comp.add(gdstk.Reference(c_heichips26_faif_comp_via_________, (3.93,3.26)))
heichips26_faif_555_comp.add(gdstk.Reference(c_heichips26_faif_comp_via_________, (9.38,1.16), rotation=pi/2))
heichips26_faif_555_comp.add(gdstk.Reference(c_heichips26_faif_comp_via__________, (9.53,10.05), rotation=pi/2))
heichips26_faif_555_comp.add(gdstk.Reference(c_heichips26_faif_comp_via__________, (12.27,10.05), rotation=pi/2))
heichips26_faif_555_comp.add(gdstk.Reference(c_heichips26_faif_comp_via___________, (11.02,1.58), rotation=pi))
heichips26_faif_555_comp.add(gdstk.Reference(c_heichips26_faif_comp_via____________, (10.9,17.4), rotation=3*pi/2))
heichips26_faif_555_comp.add(gdstk.Label('GNDA', (8.68,0.43), layer=8, texttype=25))
heichips26_faif_555_comp.add(gdstk.Label('OUT', (19.71,2.02), layer=8, texttype=25))
heichips26_faif_555_comp.add(gdstk.Label('VCCA', (10.9,18.89), layer=8, texttype=25))
heichips26_faif_555_comp.add(gdstk.Label('PBIAS', (10.9,17.4), layer=10, texttype=25))
heichips26_faif_555_comp.add(gdstk.Label('INN', (10.8,9.73), layer=30, texttype=25))
heichips26_faif_555_comp.add(gdstk.Label('INP', (10.9,10.37), layer=30, texttype=25))

lib.write_gds('heichips26_FAIf_555_comparator.gds')
